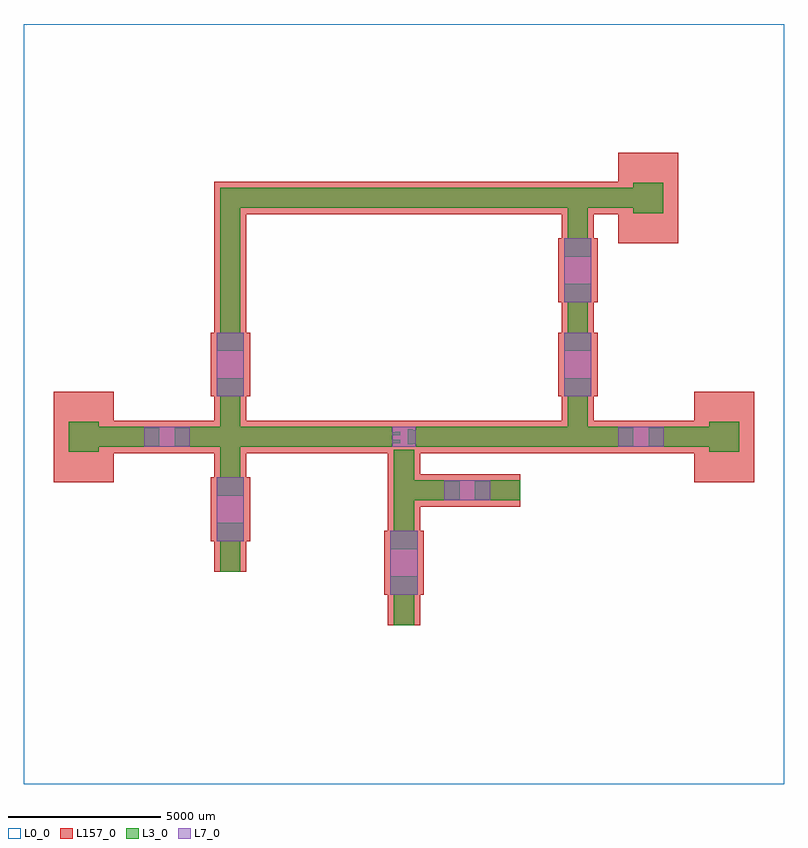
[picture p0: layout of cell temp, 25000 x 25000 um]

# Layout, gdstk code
import gdstk
lib = gdstk.Library(unit=1e-6, precision=1e-09)
def R(c, l, rs):  # rectangles x0, y0, x1, y1
    for r in rs: c.add(gdstk.rectangle(r[:2], r[2:], *l))
def A(c, l, x, y, w, h, nx, ny, dx, dy):  # array of equal rectangles
    R(c, l, [(x+i*dx, y+j*dy, x+i*dx+w, y+j*dy+h) for i in range(nx) for j in range(ny)])
L0_0 = (0, 0)
L3_0 = (3, 0)
L7_0 = (7, 0)
L157_0 = (157, 0)

temp = lib.new_cell('temp')
R(temp, L0_0, [(-3438.381,-15246.041,21561.62,9753.959)])
A(temp, L3_0, 14447.121, -3498.541, 660, 1000, 1, 3, 0, 3100)
R(temp, L3_0, [(8731.62,-10018.541,9391.62,-9018.541), (8613.508,-9018.541,9513.508,-8418.541), (3016.118,-8258.541,3676.118,-7258.541), (8613.508,-7518.541,9513.508,-6918.541), (2898.006,-7258.541,3798.006,-6658.541), (8731.62,-6918.541,9391.62,-5918.541), (8731.62,-5918.541,9391.62,-5258.541), (9391.62,-5918.541,10391.62,-5258.541), (11891.621,-5918.541,12891.621,-5258.541), (10391.62,-5888.541,10891.62,-5288.541), (10391.62,-5888.541,10891.62,-5288.541), (11391.621,-5888.541,11891.621,-5288.541), (11391.621,-5888.541,11891.621,-5288.541), (2898.006,-5758.541,3798.006,-5158.541), (8731.62,-5258.541,9391.62,-4258.541), (3016.118,-5158.541,3676.118,-4158.541), (-1968.883,-4323.541,-978.883,-3333.541), (19102.122,-4323.541,20092.122,-3333.541), (-978.883,-4158.541,-483.883,-3498.541), (-483.883,-4158.541,516.117,-3498.541), (2016.118,-4158.541,3016.118,-3498.541), (3016.118,-4158.541,3676.118,-3498.541), (3676.118,-4158.541,8676.118,-3498.541), (9447.121,-4158.541,14447.121,-3498.541), (14447.121,-4158.541,15107.121,-3498.541), (15107.121,-4158.541,16107.121,-3498.541), (17607.122,-4158.541,18607.122,-3498.541), (18607.122,-4158.541,19102.122,-3498.541), (516.117,-4128.541,1016.117,-3528.541), (516.117,-4128.541,1016.117,-3528.541), (1516.118,-4128.541,2016.118,-3528.541), (1516.118,-4128.541,2016.118,-3528.541), (16107.121,-4128.541,16607.121,-3528.541), (16107.121,-4128.541,16607.121,-3528.541), (17107.122,-4128.541,17607.122,-3528.541), (17107.122,-4128.541,17607.122,-3528.541), (9193.121,-4073.541,9347.121,-3583.54), (9347.121,-4053.541,9447.121,-3603.541), (8776.118,-4037.041,8930.118,-3922.041), (8676.118,-4029.541,8776.118,-3929.541), (8776.118,-3777.041,8930.118,-3662.041), (8676.118,-3769.541,8776.118,-3669.541), (3016.118,-3498.541,3676.118,-2498.541), (2898.006,-2498.541,3798.006,-1898.541), (14329.009,-2498.541,15229.009,-1898.541), (2898.006,-998.541,3798.006,-398.541), (14329.009,-998.541,15229.009,-398.541), (3016.118,-398.541,3676.118,3701.459), (14329.009,601.459,15229.009,1201.459), (14329.009,2101.459,15229.009,2701.459), (16602.121,3536.459,17592.121,4526.46), (3016.118,3701.459,3676.118,4361.459), (3676.118,3701.459,14447.121,4361.459), (14447.121,3701.459,15107.121,4361.459), (15107.121,3701.459,16107.121,4361.459), (16107.121,3701.459,16602.121,4361.459)])
R(temp, L7_0, [(8613.508,-9018.541,9513.508,-6918.541), (2898.006,-7258.541,3798.006,-5158.541), (10391.62,-5918.541,11891.621,-5258.541), (516.117,-4158.541,2016.118,-3498.541), (8676.118,-4158.541,9447.121,-3498.541), (16107.121,-4158.541,17607.122,-3498.541), (2898.006,-2498.541,3798.006,-398.541), (14329.009,-2498.541,15229.009,-398.541), (14329.009,601.459,15229.009,2701.459)])
A(temp, L157_0, 14247.121, -3498.541, 1060, 1000, 1, 3, 0, 3100)
R(temp, L157_0, [(8531.62,-10018.541,9591.62,-9018.541), (8413.508,-9018.541,9713.508,-6918.541), (2816.118,-8258.541,3876.118,-7258.541), (2698.006,-7258.541,3998.006,-5158.541), (8531.62,-6918.541,9591.62,-5918.541), (9391.62,-6118.541,10391.62,-5058.541), (10391.62,-6118.541,11891.621,-5058.541), (11891.621,-6118.541,12891.621,-5058.541), (8531.62,-5918.541,9591.62,-5258.541), (-2463.883,-5313.541,-483.883,-2343.541), (18607.122,-5313.541,20587.122,-2343.541), (8531.62,-5258.541,9591.62,-4258.541), (2816.118,-5158.541,3876.118,-4158.541), (-483.883,-4358.541,516.117,-3298.541), (516.117,-4358.541,2016.118,-3298.541), (2016.118,-4358.541,3016.118,-3298.541), (2816.118,-4358.541,3876.118,-3298.541), (3676.118,-4358.541,8676.118,-3298.541), (8676.118,-4358.541,9447.121,-3298.541), (9447.121,-4358.541,14447.121,-3298.541), (14447.121,-4358.541,15107.121,-3298.541), (15107.121,-4358.541,16107.121,-3298.541), (16107.121,-4358.541,17607.122,-3298.541), (17607.122,-4358.541,18607.122,-3298.541), (2816.118,-3498.541,3876.118,-2498.541), (2698.006,-2498.541,3998.006,-398.541), (14129.009,-2498.541,15429.009,-398.541), (2816.118,-398.541,3876.118,3701.459), (14129.009,601.459,15429.009,2701.459), (16107.121,2546.459,18087.121,5516.459), (2816.118,3501.459,3876.118,4561.459), (3676.118,3501.459,14447.121,4561.459), (14447.121,3501.459,15107.121,4561.459), (15107.121,3501.459,16107.121,4561.459)])

lib.write_gds('temp.gds')
